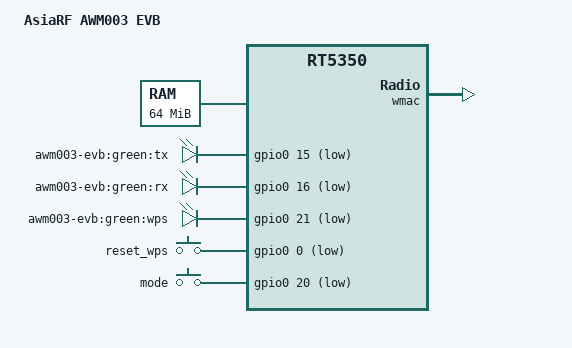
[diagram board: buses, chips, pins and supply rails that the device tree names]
/dts-v1/;

#include "AWM002-8M.dtsi"

#include <dt-bindings/input/input.h>

/ {
	compatible = "AWM003", "ralink,rt5350-soc";
	model = "AsiaRF AWM003 EVB";

	memory@0 {
		device_type = "memory";
		reg = <0x0 0x4000000>;
	};

	gpio-leds {
		compatible = "gpio-leds";

		tx {
			label = "awm003-evb:green:tx";
			gpios = <&gpio0 15 1>;
		};

		rx {
			label = "awm003-evb:green:rx";
			gpios = <&gpio0 16 1>;
		};

		wps {
			label = "awm003-evb:green:wps";
			gpios = <&gpio0 21 1>;
		};
	};

	gpio-keys-polled {
		compatible = "gpio-keys-polled";
		#address-cells = <1>;
		#size-cells = <0>;
		poll-interval = <20>;

		reset_wps {
			label = "reset_wps";
			gpios = <&gpio0 0 1>;
			linux,code = <KEY_RESTART>;
		};

		mode {
			label = "mode";
			gpios = <&gpio0 20 1>;
			linux,code = <BTN_0>;
		};
	};
};

&m25p80 {
	compatible = "jedec,spi-nor";
};

&ethernet {
	mtd-mac-address = <&factory 0x28>;
};

&wmac {
	ralink,mtd-eeprom = <&factory 0>;
};
